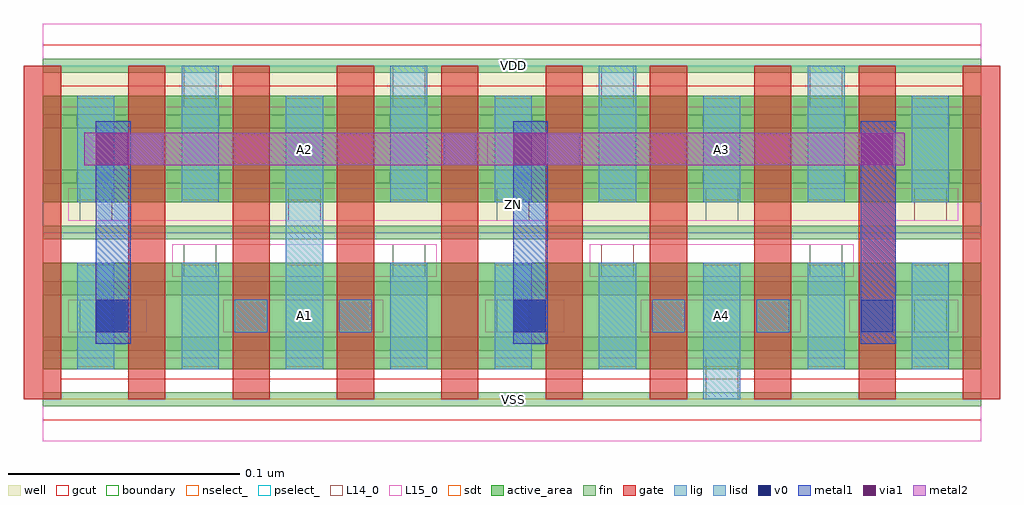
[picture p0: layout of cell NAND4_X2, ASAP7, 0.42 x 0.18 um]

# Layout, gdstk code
import gdstk
lib = gdstk.Library(unit=1e-6, precision=1e-09)
def R(c, l, rs):  # rectangles x0, y0, x1, y1
    for r in rs: c.add(gdstk.rectangle(r[:2], r[2:], *l))
def A(c, l, x, y, w, h, nx, ny, dx, dy):  # array of equal rectangles
    R(c, l, [(x+i*dx, y+j*dy, x+i*dx+w, y+j*dy+h) for i in range(nx) for j in range(ny)])
def P(c, l, *ps):  # polygons
    for p in ps: c.add(gdstk.Polygon(p, *l))
well = (1, 0)
fin = (2, 0)
gate = (7, 0)
gcut = (10, 0)
active_area = (11, 0)
nselect_ = (12, 0)
pselect_ = (13, 0)
L14_0 = (14, 0)
L15_0 = (15, 0)
lig = (16, 0)
lisd = (17, 0)
v0 = (18, 0)
metal1 = (19, 0)
metal2 = (20, 0)
via1 = (21, 0)
sdt = (88, 0)
boundary = (100, 0)

nand4_x2 = lib.new_cell('NAND4_X2')
R(nand4_x2, well, [(0,0.072,0.405,0.144)])
A(nand4_x2, fin, 0, -0.003, 0.405, 0.006, 1, 7, 0, 0.024)
A(nand4_x2, gate, -0.008, 0, 0.016, 0.144, 10, 1, 0.045, 0)
P(nand4_x2, gcut, [(0,-0.009),(0,0),(-0.008,0),(-0.008,0.135),(0.008,0.135),(0.008,0.009),(0.397,0.009),(0.397,0.135),(-0.008,0.135),(-0.008,0.144),(0,0.144),(0,0.153),(0.405,0.153),(0.405,0.144),(0.413,0.144),(0.413,0),(0.405,0),(0.405,-0.009)])
R(nand4_x2, active_area, [(0,0.013,0.405,0.059), (0,0.085,0.405,0.131)])
R(nand4_x2, nselect_, [(0,0,0.405,0.072)])
R(nand4_x2, pselect_, [(0,0.072,0.405,0.144)])
A(nand4_x2, L14_0, 0.061, 0.053, 0.014, 0.014, 4, 1, 0.09, 0)
A(nand4_x2, L14_0, 0.016, 0.077, 0.014, 0.014, 5, 1, 0.09, 0)
A(nand4_x2, L14_0, 0.061, 0.126, 0.014, 0.018, 4, 1, 0.09, 0)
R(nand4_x2, L14_0, [(0.286,0,0.3,0.018), (0.016,0.029,0.03,0.043), (0.083,0.029,0.097,0.043), (0.128,0.029,0.142,0.043), (0.196,0.029,0.21,0.043), (0.263,0.029,0.277,0.043), (0.308,0.029,0.322,0.043), (0.376,0.029,0.39,0.043), (0.038,0.101,0.052,0.115), (0.173,0.101,0.187,0.115), (0.218,0.101,0.232,0.115), (0.353,0.101,0.367,0.115)])
R(nand4_x2, L15_0, [(0,-0.018,0.405,0.018), (0.011,0.029,0.045,0.043), (0.078,0.029,0.147,0.043), (0.191,0.029,0.225,0.043), (0.258,0.029,0.327,0.043), (0.348,0.029,0.395,0.043), (0.056,0.053,0.17,0.067), (0.236,0.053,0.35,0.067), (0.011,0.077,0.395,0.091), (0.033,0.101,0.192,0.115), (0.213,0.101,0.372,0.115), (0,0.126,0.405,0.162)])
R(nand4_x2, lig, [(0.083,0.029,0.097,0.043), (0.128,0.029,0.142,0.043), (0.263,0.029,0.277,0.043), (0.308,0.029,0.322,0.043), (0.038,0.101,0.052,0.115), (0.173,0.101,0.187,0.115), (0.218,0.101,0.232,0.115), (0.353,0.101,0.367,0.115)])
A(nand4_x2, lisd, 0.15, 0.013, 0.016, 0.046, 3, 1, 0.045, 0)
A(nand4_x2, lisd, 0.06, 0.085, 0.016, 0.059, 4, 1, 0.09, 0)
A(nand4_x2, lisd, 0.195, 0.085, 0.016, 0.046, 3, 1, 0.09, 0)
R(nand4_x2, lisd, [(0.285,0,0.301,0.059), (0.015,0.013,0.031,0.059), (0.06,0.013,0.076,0.059), (0.105,0.013,0.121,0.131), (0.33,0.013,0.346,0.059), (0.375,0.013,0.391,0.059), (0.015,0.085,0.031,0.131)])
R(nand4_x2, v0, [(0.023,0.029,0.037,0.043), (0.203,0.029,0.217,0.043), (0.353,0.029,0.367,0.043)])
R(nand4_x2, metal1, [(0.023,0.024,0.038,0.12), (0.203,0.024,0.218,0.12), (0.353,0.024,0.368,0.12)])
R(nand4_x2, metal2, [(0.018,0.101,0.372,0.115)])
R(nand4_x2, via1, [(0.023,0.101,0.037,0.115), (0.203,0.101,0.217,0.115), (0.353,0.101,0.367,0.115)])
A(nand4_x2, sdt, 0.015, 0.014, 0.016, 0.044, 9, 2, 0.045, 0.072)
R(nand4_x2, boundary, [(0,0,0.405,0.144)])
nand4_x2.add(gdstk.Label('A1', (0.113,0.036), layer=15, texttype=251))
nand4_x2.add(gdstk.Label('VSS', (0.203,0), layer=15, texttype=251))
nand4_x2.add(gdstk.Label('VDD', (0.203,0.144), layer=15, texttype=251))
nand4_x2.add(gdstk.Label('A2', (0.113,0.108), layer=15, texttype=251))
nand4_x2.add(gdstk.Label('VSS', (0.203,0), layer=15, texttype=251))
nand4_x2.add(gdstk.Label('VDD', (0.203,0.144), layer=15, texttype=251))
nand4_x2.add(gdstk.Label('ZN', (0.203,0.084), layer=15, texttype=251))
nand4_x2.add(gdstk.Label('VSS', (0.203,0), layer=15, texttype=251))
nand4_x2.add(gdstk.Label('VDD', (0.203,0.144), layer=15, texttype=251))
nand4_x2.add(gdstk.Label('A3', (0.293,0.108), layer=15, texttype=251))
nand4_x2.add(gdstk.Label('VSS', (0.203,0), layer=15, texttype=251))
nand4_x2.add(gdstk.Label('VDD', (0.203,0.144), layer=15, texttype=251))
nand4_x2.add(gdstk.Label('A4', (0.293,0.036), layer=15, texttype=251))
nand4_x2.add(gdstk.Label('VSS', (0.203,0), layer=15, texttype=251))
nand4_x2.add(gdstk.Label('VDD', (0.203,0.144), layer=15, texttype=251))
nand4_x2.add(gdstk.Label('VSS', (0.203,0), layer=3, texttype=251))
nand4_x2.add(gdstk.Label('VSS', (0.203,0), layer=3, texttype=251))
nand4_x2.add(gdstk.Label('VSS', (0.203,0), layer=3, texttype=251))
nand4_x2.add(gdstk.Label('VSS', (0.203,0), layer=3, texttype=251))
nand4_x2.add(gdstk.Label('VSS', (0.203,0), layer=3, texttype=251))
nand4_x2.add(gdstk.Label('VDD', (0.203,0.144), layer=1, texttype=251))
nand4_x2.add(gdstk.Label('VDD', (0.203,0.144), layer=1, texttype=251))
nand4_x2.add(gdstk.Label('VDD', (0.203,0.144), layer=1, texttype=251))
nand4_x2.add(gdstk.Label('VDD', (0.203,0.144), layer=1, texttype=251))
nand4_x2.add(gdstk.Label('VDD', (0.203,0.144), layer=1, texttype=251))

lib.write_gds('NAND4_X2.gds')
